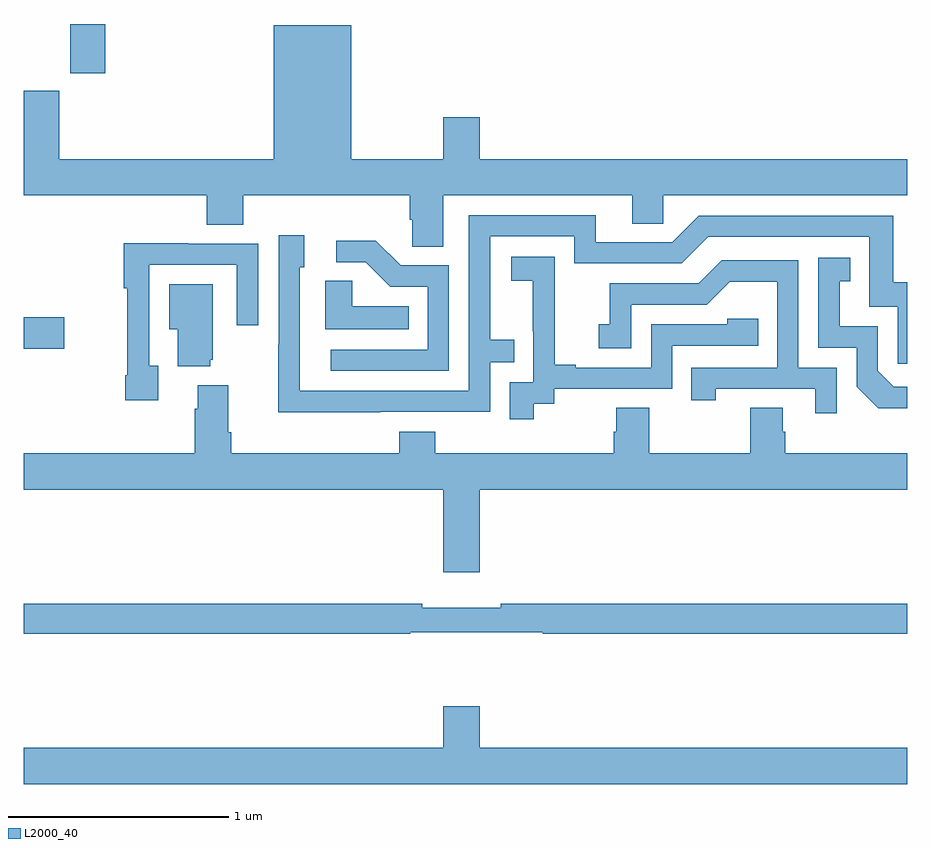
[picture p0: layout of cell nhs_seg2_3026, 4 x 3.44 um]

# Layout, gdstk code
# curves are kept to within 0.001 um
import gdstk
lib = gdstk.Library(unit=1e-6, precision=1e-09)
def R(c, l, rs):  # rectangles x0, y0, x1, y1
    for r in rs: c.add(gdstk.rectangle(r[:2], r[2:], *l))
def P(c, l, *ps):  # polygons
    for p in ps: c.add(gdstk.Polygon(p, *l))
L2000_40 = (2000, 40)

nhs_seg2_3026 = lib.new_cell('nhs_seg2_3026')
R(nhs_seg2_3026, L2000_40, [(271,592.33,271.183,592.472), (271.21,593.577,271.37,593.8)])
P(nhs_seg2_3026, L2000_40, [(272.899,593.024),(273.755,593.024),(273.755,592.897),(273.894,592.897),(273.894,593.024),(275,593.024),(275,593.188),(273.064,593.188),(273.064,593.377),(272.9,593.377),(272.9,593.188),(272.482,593.188),(272.482,593.794),(272.132,593.794),(272.132,593.188),(271.162,593.188),(271.162,593.497),(271,593.497),(271,593.024),(271.829,593.024),(271.829,592.891),(271.994,592.891),(271.994,593.024),(272.747,593.024),(272.747,592.915),(272.76,592.915),(272.76,592.792),(272.899,592.792)],
  [(272.615,592.044),(273.111,592.044),(273.111,592.269),(273.221,592.269),(273.221,592.37),(273.111,592.37),(273.111,592.839),(273.492,592.839),(273.492,592.716),(273.978,592.716),(274.098,592.836),(274.827,592.836),(274.827,592.521),(274.956,592.521),(274.956,592.263),(275,592.263),(275,592.63),(274.936,592.63),(274.936,592.932),(274.056,592.932),(273.936,592.812),(273.589,592.812),(273.589,592.935),(273.015,592.935),(273.015,592.14),(272.25,592.14),(272.25,592.698),(272.269,592.698),(272.269,592.843),(272.154,592.843),(272.154,592.349),(272.152,592.349),(272.152,592.043)],
  [(272.925,592.707),(272.706,592.707),(272.593,592.82),(272.415,592.82),(272.415,592.722),(272.549,592.722),(272.66,592.611),(272.829,592.611),(272.829,592.326),(272.391,592.326),(272.391,592.23),(272.925,592.23)],
  [(271.609,592.254),(271.569,592.254),(271.569,592.71),(271.965,592.71),(271.965,592.437),(272.061,592.437),(272.061,592.806),(271.745,592.806),(271.745,592.808),(271.453,592.808),(271.453,592.603),(271.468,592.603),(271.468,592.21),(271.461,592.21),(271.461,592.098),(271.609,592.098)],
  [(273.31,592.081),(273.402,592.081),(273.402,592.149),(273.936,592.149),(273.936,592.344),(274.325,592.344),(274.325,592.467),(274.185,592.467),(274.185,592.44),(273.84,592.44),(273.84,592.245),(273.499,592.245),(273.499,592.258),(273.404,592.258),(273.404,592.541),(273.405,592.541),(273.405,592.747),(273.207,592.747),(273.207,592.637),(273.305,592.637),(273.305,592.409),(273.306,592.409),(273.306,592.179),(273.201,592.179),(273.201,592.011),(273.31,592.011)],
  [(275,592.158),(274.938,592.158),(274.866,592.23),(274.866,592.431),(274.693,592.431),(274.693,592.635),(274.742,592.635),(274.742,592.741),(274.596,592.741),(274.596,592.335),(274.77,592.335),(274.77,592.158),(274.868,592.061),(275,592.061)],
  [(274.68,592.245),(274.506,592.245),(274.506,592.731),(274.16,592.731),(274.055,592.626),(273.652,592.626),(273.652,592.441),(273.603,592.441),(273.603,592.332),(273.75,592.332),(273.75,592.53),(274.092,592.53),(274.196,592.634),(274.41,592.634),(274.41,592.245),(274.021,592.245),(274.021,592.098),(274.132,592.098),(274.132,592.149),(274.583,592.149),(274.583,592.038),(274.68,592.038)],
  [(272.744,592.522),(272.487,592.522),(272.487,592.637),(272.366,592.637),(272.366,592.418),(272.744,592.418)],
  [(271.844,592.281),(271.855,592.281),(271.855,592.621),(271.658,592.621),(271.658,592.418),(271.697,592.418),(271.697,592.25),(271.844,592.25)],
  [(273.064,591.692),(275,591.692),(275,591.856),(274.448,591.856),(274.448,591.954),(274.435,591.954),(274.435,592.064),(274.288,592.064),(274.288,591.856),(273.831,591.856),(273.831,592.064),(273.683,592.064),(273.683,591.954),(273.671,591.954),(273.671,591.856),(272.864,591.856),(272.864,591.955),(272.699,591.955),(272.699,591.856),(271.94,591.856),(271.94,591.952),(271.927,591.952),(271.927,592.165),(271.787,592.165),(271.787,592.058),(271.775,592.058),(271.775,591.856),(271,591.856),(271,591.692),(272.9,591.692),(272.9,591.318),(273.064,591.318)],
  [(272.75,591.048),(273.35,591.048),(273.35,591.04),(275,591.04),(275,591.176),(273.16,591.176),(273.16,591.157),(272.804,591.157),(272.804,591.176),(271,591.176),(271,591.04),(272.75,591.04)],
  [(275,590.524),(273.064,590.524),(273.064,590.713),(272.9,590.713),(272.9,590.524),(271,590.524),(271,590.36),(275,590.36)])

lib.write_gds('nhs_seg2_3026.gds')
